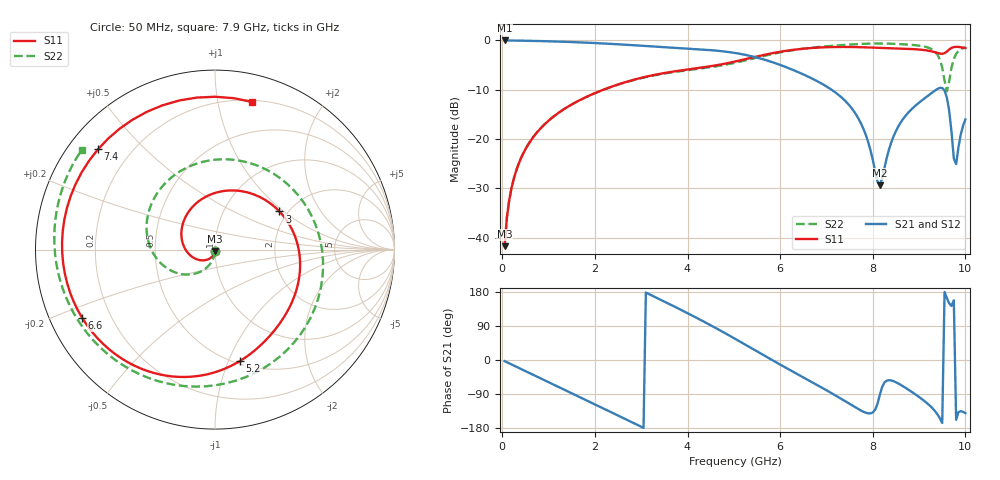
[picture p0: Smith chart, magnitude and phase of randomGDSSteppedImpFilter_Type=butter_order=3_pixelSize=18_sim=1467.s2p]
! freq	dB(S11)	phase(S11)	dB(S12)	phase(S12)
!  dB(S21)	phase(S21)	dB(S22)	phase(S22)
!S-par simulation data
#  GHz  S  DB  R 50
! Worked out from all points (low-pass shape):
!   200 points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, 50 MHz to 10 GHz, reference 50 ohm
!   highest |S21| = -0.01 dB at 50 MHz (marker M1); lowest = -29.4 dB at 8.15 GHz (marker M2)
!   |S21| within 3 dB of the highest: start of sweep to 5.29 GHz
!   lowest |S11| = -41.8 dB at 50 MHz (marker M3), VSWR 1.02, Z = 50 - j0.817 ohm
!   |S11| at or under -10 dB: start of sweep to 2.183 GHz
!   |S22| runs from -41.7 to -0.6 dB; largest |S21 - S12| = 0
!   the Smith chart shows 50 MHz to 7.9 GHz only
!   S11 on the Smith chart (normalised r, x): 50 MHz: 1.00, -0.02; 3 GHz: 1.81, +0.93; 5.2 GHz: 0.52, -1.10; 6.6 GHz: 0.10, -0.24; 7.4 GHz: 0.09, +0.37; 7.9 GHz: 0.22, +1.26
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0.05  -41.75 -90.8  -0.01 -3.0  -0.01 -3.0  -41.71 -88.4
0.2  -29.94 -106.3  -0.02 -11.8  -0.02 -11.8  -29.89 -96.6
0.5  -22.09 -132.0  -0.07 -29.4  -0.07 -29.4  -22.06 -107.6
1.75  -11.76 124.2  -0.43 -102.5  -0.43 -102.5  -11.78 -150.7
3  -7.59 30.7  -1.07 -176.1  -1.07 -176.1  -7.66 156.0
3.4  -6.79 5.6  -1.31 160.1  -1.31 160.1  -6.88 133.7
4.3  -5.52 -40.4  -1.83 104.6  -1.83 104.6  -5.70 69.2
5.05  -4.24 -71.3  -2.58 54.3  -2.58 54.3  -4.48 -0.6
5.2  -3.92 -77.6  -2.84 43.9  -2.84 43.9  -4.15 -15.4
5.9  -2.47 -111.0  -4.63 -5.2  -4.63 -5.2  -2.62 -81.1
6.6  -1.60 -152.8  -7.33 -52.6  -7.33 -52.6  -1.57 -135.9
6.7  -1.52 -159.8  -7.79 -59.3  -7.79 -59.3  -1.46 -142.9
7.4  -1.32 139.4  -12.23 -108.5  -12.23 -108.5  -0.90 172.6
7.9  -1.43 75.7  -20.61 -140.7  -20.61 -140.7  -0.66 143.3
8.15  -1.51 38.3  -29.38 -92.9  -29.38 -92.9  -0.63 128.8
8.35  -1.57 8.3  -22.15 -53.2  -22.15 -53.2  -0.66 117.3
9.05  -1.90 -78.3  -12.25 -102.1  -12.25 -102.1  -1.13 76.3
9.4  -2.54 -109.1  -9.82 -144.1  -9.82 -144.1  -2.94 47.5
9.55  -2.59 -116.4  -10.18 179.5  -10.18 179.5  -8.11 40.5
9.65  -1.84 -123.0  -14.27 149.4  -14.27 149.4  -8.35 85.9
9.8  -1.30 -140.2  -25.10 -157.8  -25.10 -157.8  -2.74 78.6
10  -1.55 -161.7  -16.04 -140.3  -16.04 -140.3  -1.43 59.3
